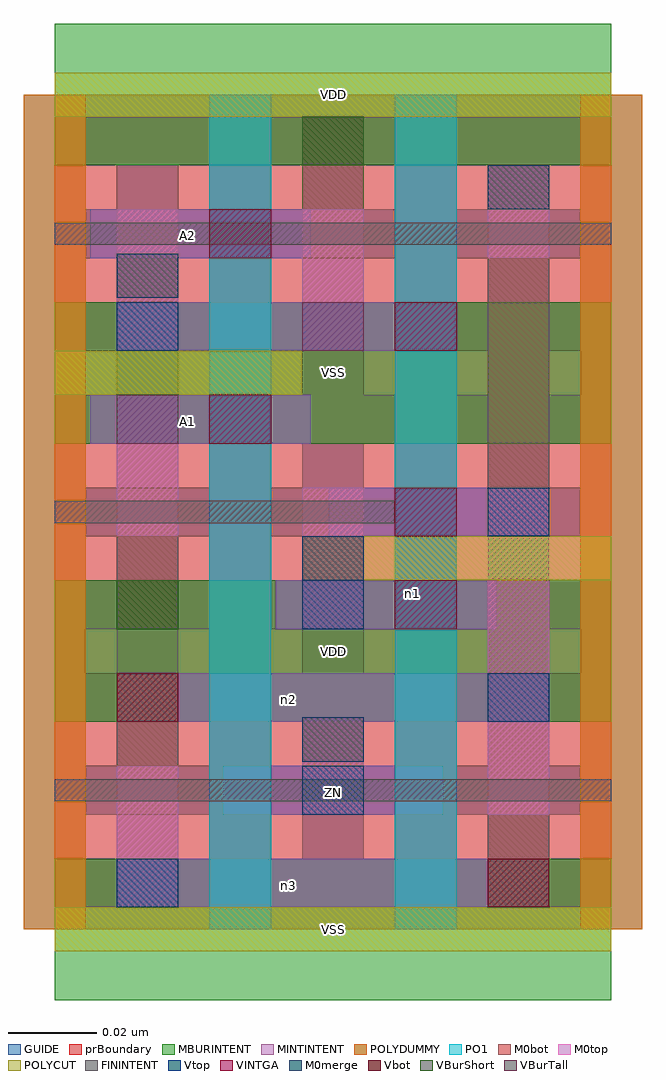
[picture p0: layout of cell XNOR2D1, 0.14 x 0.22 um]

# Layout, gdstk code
import gdstk
lib = gdstk.Library(unit=1e-6, precision=1e-09)
def R(c, l, rs):  # rectangles x0, y0, x1, y1
    for r in rs: c.add(gdstk.rectangle(r[:2], r[2:], *l))
def A(c, l, x, y, w, h, nx, ny, dx, dy):  # array of equal rectangles
    R(c, l, [(x+i*dx, y+j*dy, x+i*dx+w, y+j*dy+h) for i in range(nx) for j in range(ny)])
MBURINTENT = (1, 0)
FININTENT = (2, 0)
PO1 = (10, 0)
POLYDUMMY = (11, 0)
POLYCUT = (12, 0)
M0bot = (20, 0)
M0top = (21, 0)
M0merge = (22, 0)
VBurShort = (30, 0)
VBurTall = (31, 0)
Vbot = (40, 0)
Vtop = (41, 0)
VINTGA = (42, 0)
MINTINTENT = (50, 0)
prBoundary = (100, 0)
GUIDE = (200, 0)

xnor2d1 = lib.new_cell('XNOR2D1')
A(xnor2d1, MBURINTENT, 0, -0.016, 0.126, 0.032, 1, 4, 0, 0.063)
R(xnor2d1, FININTENT, [(0,0.029,0.126,0.034), (0,0.092,0.077,0.097), (0,0.155,0.126,0.16)])
R(xnor2d1, PO1, [(0.035,0,0.049,0.189), (0.077,0,0.091,0.189)])
R(xnor2d1, POLYDUMMY, [(-0.007,0,0.007,0.189), (0.119,0,0.133,0.189)])
R(xnor2d1, POLYCUT, [(0,-0.005,0.126,0.005), (0.056,0.079,0.126,0.089), (0,0.121,0.056,0.131), (0,0.184,0.126,0.194)])
R(xnor2d1, M0bot, [(0.098,0.005,0.112,0.173), (0.014,0.026,0.028,0.058), (0.056,0.026,0.07,0.048), (0.014,0.068,0.028,0.1), (0.056,0.068,0.07,0.1), (0.014,0.142,0.028,0.163), (0.056,0.152,0.07,0.184)])
R(xnor2d1, M0top, [(0.014,0.005,0.028,0.037), (0.056,0.026,0.07,0.048), (0.098,0.026,0.112,0.1), (0.056,0.068,0.07,0.1), (0.014,0.089,0.028,0.121), (0.014,0.131,0.028,0.163), (0.056,0.131,0.07,0.163), (0.098,0.152,0.112,0.173)])
R(xnor2d1, M0merge, [(0.056,0.038,0.07,0.048), (0.056,0.079,0.07,0.089), (0.014,0.143,0.028,0.153), (0.098,0.163,0.112,0.173)])
R(xnor2d1, VBurShort, [(0.014,0.068,0.028,0.079), (0.056,0.173,0.07,0.184)])
R(xnor2d1, VBurTall, [(0.014,0.11,0.028,0.121), (0.056,0.131,0.07,0.142)])
R(xnor2d1, Vbot, [(0.098,0.005,0.112,0.016), (0.014,0.047,0.028,0.058)])
R(xnor2d1, Vtop, [(0.014,0.005,0.028,0.016), (0.056,0.026,0.07,0.037), (0.098,0.047,0.112,0.058), (0.056,0.068,0.07,0.079), (0.098,0.089,0.112,0.1), (0.014,0.131,0.028,0.142)])
R(xnor2d1, VINTGA, [(0.077,0.068,0.091,0.079), (0.077,0.089,0.091,0.1), (0.035,0.11,0.049,0.121), (0.077,0.131,0.091,0.142), (0.035,0.152,0.049,0.163)])
R(xnor2d1, MINTINTENT, [(0.014,0.005,0.112,0.016), (0.038,0.026,0.088,0.037), (0.014,0.047,0.112,0.058), (0.05,0.068,0.1,0.079), (0.062,0.089,0.112,0.1), (0.008,0.11,0.058,0.121), (0.014,0.131,0.091,0.142), (0.008,0.152,0.058,0.163)])
R(xnor2d1, prBoundary, [(0,0,0.126,0.189)])
A(xnor2d1, GUIDE, -0.007, 0, 0.014, 0.189, 4, 1, 0.042, 0)
A(xnor2d1, GUIDE, 0, 0.005, 0.126, 0.011, 1, 9, 0, 0.021)
A(xnor2d1, GUIDE, 0.014, 0.005, 0.014, 0.179, 3, 1, 0.042, 0)
xnor2d1.add(gdstk.Label('VSS', (0.063,0), layer=1, texttype=0))
xnor2d1.add(gdstk.Label('VDD', (0.063,0.063), layer=1, texttype=0))
xnor2d1.add(gdstk.Label('VSS', (0.063,0.126), layer=1, texttype=0))
xnor2d1.add(gdstk.Label('VDD', (0.063,0.189), layer=1, texttype=0))
xnor2d1.add(gdstk.Label('n1', (0.081,0.076), layer=12, texttype=0))
xnor2d1.add(gdstk.Label('T1', (-0.02,0.178), layer=200, texttype=0))
xnor2d1.add(gdstk.Label('T2', (-0.02,0.157), layer=200, texttype=0))
xnor2d1.add(gdstk.Label('T3', (-0.02,0.136), layer=200, texttype=0))
xnor2d1.add(gdstk.Label('T4', (-0.02,0.115), layer=200, texttype=0))
xnor2d1.add(gdstk.Label('T5', (-0.02,0.094), layer=200, texttype=0))
xnor2d1.add(gdstk.Label('T6', (-0.02,0.073), layer=200, texttype=0))
xnor2d1.add(gdstk.Label('T7', (-0.02,0.052), layer=200, texttype=0))
xnor2d1.add(gdstk.Label('T8', (-0.02,0.031), layer=200, texttype=0))
xnor2d1.add(gdstk.Label('T9', (-0.02,0.01), layer=200, texttype=0))
xnor2d1.add(gdstk.Label('S/D1', (0.021,-0.024), layer=200, texttype=0))
xnor2d1.add(gdstk.Label('S/D2', (0.063,-0.024), layer=200, texttype=0))
xnor2d1.add(gdstk.Label('S/D3', (0.105,-0.024), layer=200, texttype=0))
xnor2d1.add(gdstk.Label('n2', (0.053,0.052), layer=50, texttype=0))
xnor2d1.add(gdstk.Label('n3', (0.053,0.01), layer=50, texttype=0))
xnor2d1.add(gdstk.Label('ZN', (0.063,0.031), layer=50, texttype=0))
xnor2d1.add(gdstk.Label('A1', (0.03,0.115), layer=50, texttype=0))
xnor2d1.add(gdstk.Label('A2', (0.03,0.157), layer=50, texttype=0))

lib.write_gds('XNOR2D1.gds')
